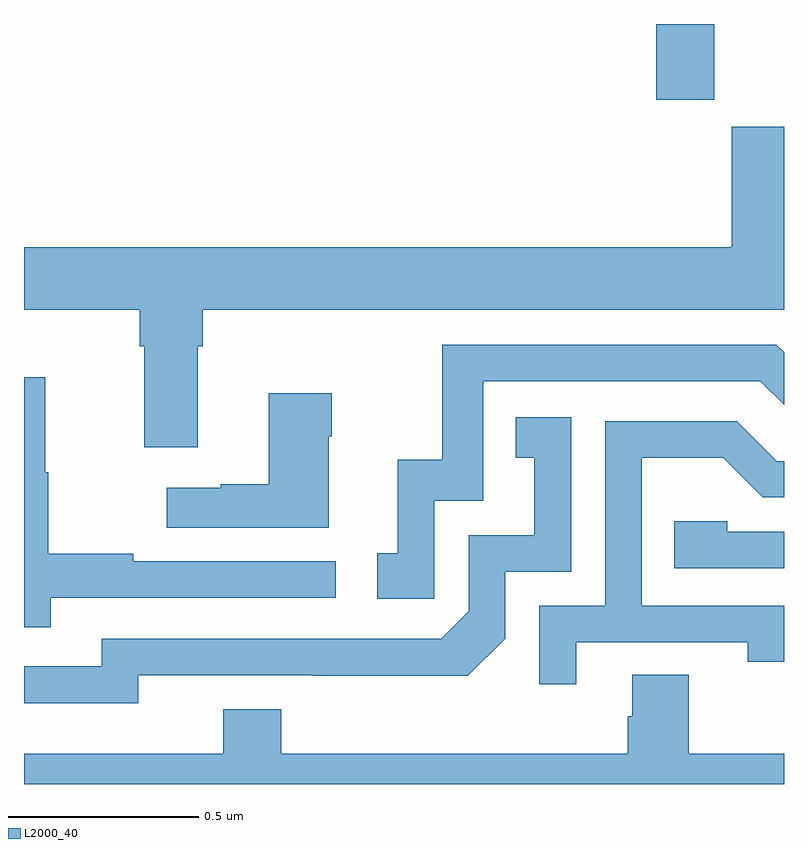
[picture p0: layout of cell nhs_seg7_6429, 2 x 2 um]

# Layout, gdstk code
import gdstk
lib = gdstk.Library(unit=1e-6, precision=1e-09)
def R(c, l, rs):  # rectangles x0, y0, x1, y1
    for r in rs: c.add(gdstk.rectangle(r[:2], r[2:], *l))
def P(c, l, *ps):  # polygons
    for p in ps: c.add(gdstk.Polygon(p, *l))
L2000_40 = (2000, 40)

nhs_seg7_6429 = lib.new_cell('nhs_seg7_6429')
R(nhs_seg7_6429, L2000_40, [(199.664,1035.801,199.816,1036)])
P(nhs_seg7_6429, L2000_40, [(198.457,1035.152),(198.47,1035.152),(198.47,1035.248),(200,1035.248),(200,1035.729),(199.862,1035.729),(199.862,1035.412),(198,1035.412),(198,1035.248),(198.305,1035.248),(198.305,1035.152),(198.317,1035.152),(198.317,1034.886),(198.457,1034.886)],
  [(199.08,1034.745),(199.209,1034.745),(199.209,1035.06),(199.938,1035.06),(200,1034.998),(200,1035.136),(199.98,1035.156),(199.101,1035.156),(199.101,1034.853),(198.983,1034.853),(198.983,1034.607),(198.93,1034.607),(198.93,1034.487),(199.08,1034.487)],
  [(198.071,1034.49),(198.82,1034.49),(198.82,1034.586),(198.287,1034.586),(198.287,1034.606),(198.064,1034.606),(198.064,1034.82),(198.056,1034.82),(198.056,1035.07),(198,1035.07),(198,1034.412),(198.071,1034.412)],
  [(198.802,1034.915),(198.81,1034.915),(198.81,1035.028),(198.644,1035.028),(198.644,1034.789),(198.518,1034.789),(198.518,1034.779),(198.375,1034.779),(198.375,1034.675),(198.802,1034.675)],
  [(198.3,1034.286),(198.76,1034.286),(198.76,1034.285),(199.168,1034.285),(199.266,1034.382),(199.266,1034.559),(199.44,1034.559),(199.44,1034.965),(199.294,1034.965),(199.294,1034.859),(199.343,1034.859),(199.343,1034.655),(199.17,1034.655),(199.17,1034.454),(199.098,1034.382),(198.204,1034.382),(198.204,1034.31),(198,1034.31),(198,1034.213),(198.3,1034.213)],
  [(199.453,1034.373),(199.904,1034.373),(199.904,1034.322),(200,1034.322),(200,1034.469),(199.626,1034.469),(199.626,1034.858),(199.84,1034.858),(199.944,1034.754),(200,1034.754),(200,1034.85),(199.981,1034.85),(199.876,1034.955),(199.53,1034.955),(199.53,1034.469),(199.356,1034.469),(199.356,1034.262),(199.453,1034.262)],
  [(200,1034.664),(199.851,1034.664),(199.851,1034.691),(199.711,1034.691),(199.711,1034.568),(200,1034.568)],
  [(200,1034.08),(199.749,1034.08),(199.749,1034.288),(199.601,1034.288),(199.601,1034.178),(199.589,1034.178),(199.589,1034.08),(198.677,1034.08),(198.677,1034.197),(198.524,1034.197),(198.524,1034.08),(198,1034.08),(198,1034),(200,1034)])

lib.write_gds('nhs_seg7_6429.gds')
